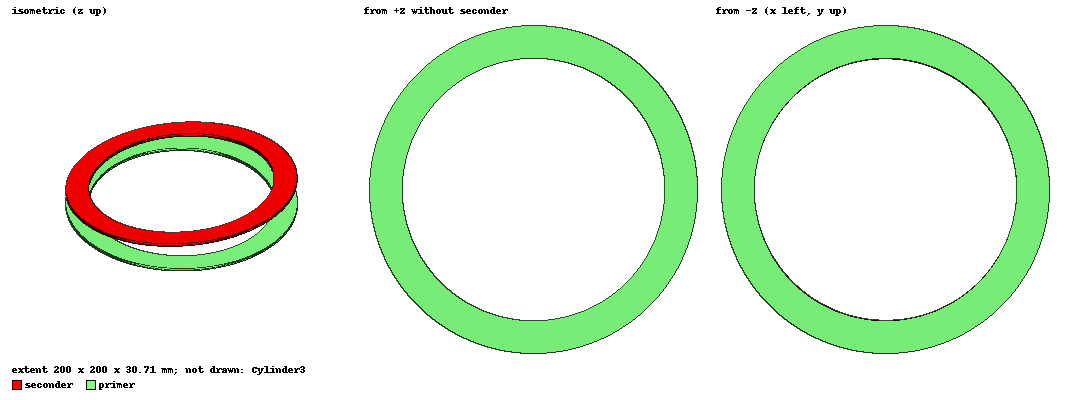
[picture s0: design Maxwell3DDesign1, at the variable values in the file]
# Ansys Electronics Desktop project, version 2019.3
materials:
  vacuum: permittivity=1
  copper: permeability=0.999991 conductivity=58000000

design Maxwell3DDesign1 (Maxwell 3D, Magnetostatic, model units mm)
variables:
  r_inner = 80mm
  ch = 2mm
  layer_p = 1
  r_outer = 100mm
  d = 20mm
  deltaX = 0mm
  deltaY = 0mm
  alpha = 20
  r_outer_sec = r_outer
  layer_s = layer_p
  r_inner_sec = r_inner
  alfa = 0deg
  alfa_x = 5deg
  seconder_current = 1A
  primer_current = 1A
  np = 20
  ns = 20
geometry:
  Cylinder1 = cylinder(axis=Z, base_centre=(0mm, 0mm, 0mm), radius=r_inner, height=ch*layer_p)
  primer [copper] = cylinder(axis=Z, base_centre=(0mm, 0mm, 0mm), radius=r_outer, height=ch*layer_p)
  primer.subtract(Cylinder1)
  primer_section = primer.section(plane=YZ)
  primer_section2 = primer_section.separate_bodies()
  coordinate_system RelativeCS1 = origin=(deltaX, deltaY, d) x=(1mm, 0mm, 0mm) y=(0mm, 1mm, 0mm)
  seconder [copper] = cylinder(axis=Z, base_centre=(0mm, 0mm, 0mm), radius=r_outer_sec, height=ch*layer_s) in RelativeCS1
  Cylinder2 = cylinder(axis=Z, base_centre=(0mm, 0mm, 0mm), radius=r_inner_sec, height=ch*layer_s) in RelativeCS1
  seconder.subtract(Cylinder2)
  seconder_section [copper] = seconder.section(plane=YZ) in RelativeCS1
  seconder_section2 [copper] = seconder_section.separate_bodies()
  [seconder, seconder_section, seconder_section2].rotate(axis=Y, angle=alfa) in RelativeCS1
  [seconder, seconder_section, seconder_section2].rotate(axis=X, angle=alfa_x) in RelativeCS1
  Cylinder3 [vacuum] = cylinder(axis=Z, base_centre=(0mm, 0mm, -300mm), radius=300mm, height=600mm)
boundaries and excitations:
  Insulating1: Insulating Objects=[seconder, primer]
  ZeroTangentialHField1: Zero Tangential H Field Faces=Cylinder3.face(all 3)
  current_primer: Current Objects=primer_section Current=primer_current IsSolid=false Point_out_of_terminal=true
  current_seconder: Current Objects=seconder_section Current=seconder_current IsSolid=false Point_out_of_terminal=true
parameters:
  Matrix1: Matrix current_primer: NumberOfTurns=np; current_seconder: NumberOfTurns=ns
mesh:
  initial mesh: GlobalCurvilinear{Apply}
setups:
  Setup1: Magnetostatic MaximumPasses=10 MinimumPasses=2 MinimumConvergedPasses=1 PercentRefinement=30 PercentError=1 NonLinearResidual=0.001
